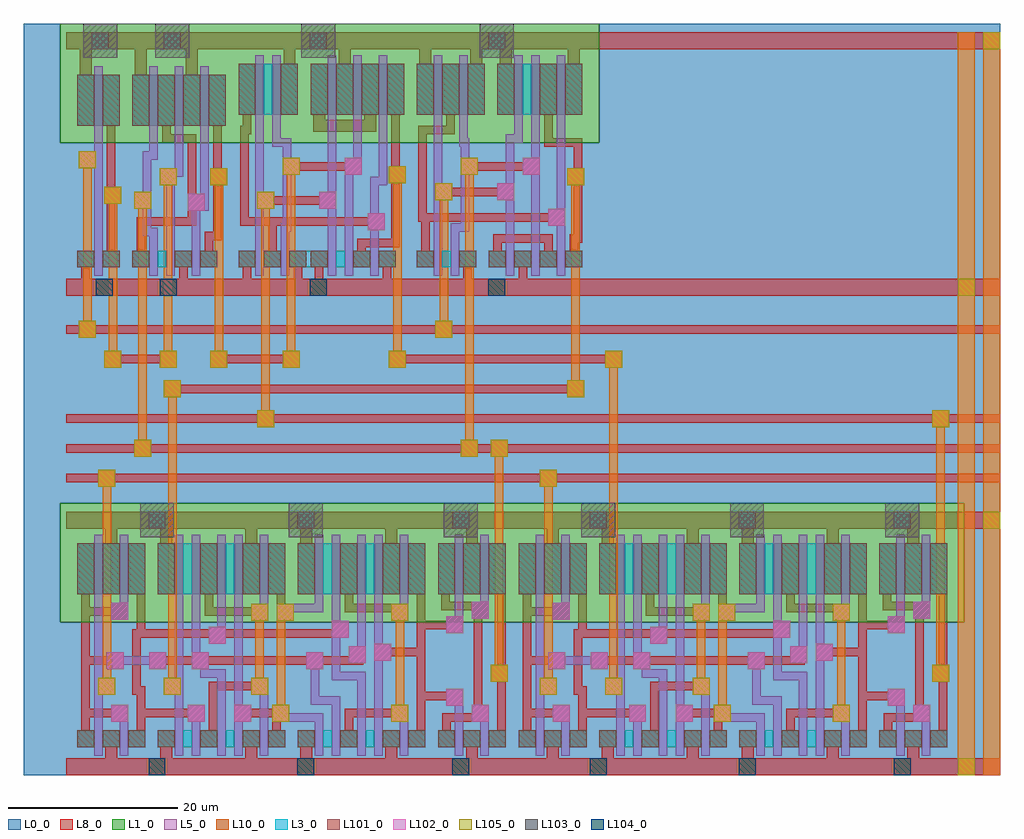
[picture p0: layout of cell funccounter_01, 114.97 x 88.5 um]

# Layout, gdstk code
import gdstk
lib = gdstk.Library(unit=1e-6, precision=1e-09)
def R(c, l, rs):  # rectangles x0, y0, x1, y1
    for r in rs: c.add(gdstk.rectangle(r[:2], r[2:], *l))
def A(c, l, x, y, w, h, nx, ny, dx, dy):  # array of equal rectangles
    R(c, l, [(x+i*dx, y+j*dy, x+i*dx+w, y+j*dy+h) for i in range(nx) for j in range(ny)])
def P(c, l, *ps):  # polygons
    for p in ps: c.add(gdstk.Polygon(p, *l))
L0_0 = (0, 0)
L1_0 = (1, 0)
L3_0 = (3, 0)
L5_0 = (5, 0)
L8_0 = (8, 0)
L10_0 = (10, 0)
L101_0 = (101, 0)
L102_0 = (102, 0)
L103_0 = (103, 0)
L104_0 = (104, 0)
L105_0 = (105, 0)

pch = lib.new_cell('pch')
R(pch, L0_0, [(0,0,1,6)])

nch = lib.new_cell('nch')
R(nch, L0_0, [(0,0,1,2)])

funccounter_01 = lib.new_cell('funccounter_01')
P(funccounter_01, L0_0, [(-5.468,-0.5),(109.5,-0.5),(109.5,88),(62.3,88),(62.3,74),(-1.2,74),(-1.2,88),(-5.468,88),(-5.468,17.5),(-1.2,17.5),(-1.2,31.5),(105.3,31.5),(105.3,17.5),(-5.468,17.5)])
R(funccounter_01, L1_0, [(-1.2,17.5,105.3,31.5), (-1.2,74,62.3,88)])
A(funccounter_01, L3_0, 0.8, 2.8, 2, 2, 3, 1, 3, 0)
A(funccounter_01, L3_0, 10.3, 2.8, 2, 2, 3, 1, 5, 0)
A(funccounter_01, L3_0, 26.8, 2.8, 2, 2, 3, 1, 5, 0)
A(funccounter_01, L3_0, 43.3, 2.8, 2, 2, 3, 1, 3, 0)
A(funccounter_01, L3_0, 52.8, 2.8, 2, 2, 3, 1, 3, 0)
A(funccounter_01, L3_0, 62.3, 2.8, 2, 2, 3, 1, 5, 0)
A(funccounter_01, L3_0, 78.8, 2.8, 2, 2, 3, 1, 5, 0)
A(funccounter_01, L3_0, 95.3, 2.8, 2, 2, 3, 1, 3, 0)
A(funccounter_01, L3_0, 0.8, 20.8, 2, 6, 3, 1, 3, 0)
A(funccounter_01, L3_0, 10.3, 20.8, 2, 6, 3, 1, 5, 0)
A(funccounter_01, L3_0, 26.8, 20.8, 2, 6, 3, 1, 5, 0)
A(funccounter_01, L3_0, 43.3, 20.8, 2, 6, 3, 1, 3, 0)
A(funccounter_01, L3_0, 52.8, 20.8, 2, 6, 3, 1, 3, 0)
A(funccounter_01, L3_0, 62.3, 20.8, 2, 6, 3, 1, 5, 0)
A(funccounter_01, L3_0, 78.8, 20.8, 2, 6, 3, 1, 5, 0)
A(funccounter_01, L3_0, 95.3, 20.8, 2, 6, 3, 1, 3, 0)
A(funccounter_01, L3_0, 49.3, 59.3, 2, 2, 4, 1, 3, 0)
A(funccounter_01, L3_0, 7.3, 76, 2, 6, 4, 1, 3, 0)
A(funccounter_01, L3_0, 28.3, 77.3, 2, 6, 4, 1, 3, 0)
A(funccounter_01, L3_0, 40.8, 77.3, 2, 6, 3, 1, 3, 0)
R(funccounter_01, L3_0, [(13.3,2.8,14.3,4.8), (18.3,2.8,19.3,4.8), (23.3,2.8,25.3,4.8), (29.8,2.8,30.8,4.8), (34.8,2.8,35.8,4.8), (39.8,2.8,41.8,4.8), (65.3,2.8,66.3,4.8), (70.3,2.8,71.3,4.8), (75.3,2.8,77.3,4.8), (81.8,2.8,82.8,4.8), (86.8,2.8,87.8,4.8), (91.8,2.8,93.8,4.8), (13.3,20.8,14.3,26.8), (18.3,20.8,19.3,26.8), (23.3,20.8,25.3,26.8), (29.8,20.8,30.8,26.8), (34.8,20.8,35.8,26.8), (39.8,20.8,41.8,26.8), (65.3,20.8,66.3,26.8), (70.3,20.8,71.3,26.8), (75.3,20.8,77.3,26.8), (81.8,20.8,82.8,26.8), (86.8,20.8,87.8,26.8), (91.8,20.8,93.8,26.8), (9.2,28.5,11.2,30.5), (26.7,28.5,28.7,30.5), (45,28.5,47,30.5), (61.2,28.5,63.2,30.5), (78.7,28.5,80.7,30.5), (97,28.5,99,30.5), (0.8,59.3,2.8,61.3), (3.8,59.3,5.8,61.3), (7.3,59.3,9.3,61.3), (10.3,59.3,11.3,61.3), (12.3,59.3,14.3,61.3), (15.3,59.3,17.3,61.3), (19.8,59.3,21.8,61.3), (22.8,59.3,24.8,61.3), (25.8,59.3,30.3,61.3), (31.3,59.3,32.3,61.3), (33.3,59.3,35.3,61.3), (36.3,59.3,38.3,61.3), (40.8,59.3,42.8,61.3), (43.8,59.3,44.8,61.3), (45.8,59.3,47.8,61.3), (0.8,76,2.8,82), (3.8,76,5.8,82), (19.8,77.3,21.8,83.3), (22.8,77.3,23.8,83.3), (24.8,77.3,26.8,83.3), (50.3,77.3,52.3,83.3), (53.3,77.3,54.3,83.3), (55.3,77.3,57.3,83.3), (58.3,77.3,60.3,83.3), (2.5,85,4.5,87), (11,85,13,87), (28.2,85,30.2,87), (49.2,85,51.2,87)])
P(funccounter_01, L5_0, [(99.3,5.8),(100.3,5.8),(100.3,1.8),(101.3,1.8),(101.3,7.8),(99.3,7.8)],
  [(99.3,17.9),(101.3,17.9),(101.3,27.8),(100.3,27.8),(100.3,19.9),(99.3,19.9)],
  [(96.3,7.7),(97.3,7.7),(97.3,1.8),(98.3,1.8),(98.3,9.7),(96.3,9.7)],
  [(96.3,16.2),(98.3,16.2),(98.3,27.8),(97.3,27.8),(97.3,18.2),(96.3,18.2)],
  [(89.8,5.8),(90.8,5.8),(90.8,1.8),(91.8,1.8),(91.8,7.8),(89.8,7.8)],
  [(89.8,17.7),(91.8,17.7),(91.8,27.8),(90.8,27.8),(90.8,19.7),(89.8,19.7)],
  [(87.8,1.8),(88.8,1.8),(88.8,13),(89.8,13),(89.8,15),(88.8,15),(88.8,27.8),(87.8,27.8)],
  [(84.8,12.7),(86.8,12.7),(86.8,27.8),(85.8,27.8),(85.8,14.7),(84.8,14.7)],
  [(82.8,10.7),(85.8,10.7),(85.8,1.8),(86.8,1.8),(86.8,11.7),(83.8,11.7),(83.8,15.7),(84.8,15.7),(84.8,17.7),(83.8,17.7),(83.8,27.8),(82.8,27.8)],
  [(79.8,12),(80.3,12),(80.3,7.8),(82.8,7.8),(82.8,1.8),(83.8,1.8),(83.8,8.8),(81.3,8.8),(81.3,12),(81.8,12),(81.8,14),(79.8,14)],
  [(75.8,5.8),(80.8,5.8),(80.8,1.8),(81.8,1.8),(81.8,6.8),(77.8,6.8),(77.8,7.8),(75.8,7.8)],
  [(76.3,17.7),(78.3,17.7),(78.3,18.7),(81.8,18.7),(81.8,27.8),(80.8,27.8),(80.8,19.7),(76.3,19.7)],
  [(73.3,9),(74.3,9),(74.3,1.8),(75.3,1.8),(75.3,11),(73.3,11)],
  [(73.3,17.7),(75.3,17.7),(75.3,27.8),(74.3,27.8),(74.3,19.7),(73.3,19.7)],
  [(71.3,1.8),(72.3,1.8),(72.3,5.8),(73.3,5.8),(73.3,7.8),(72.3,7.8),(72.3,27.8),(71.3,27.8)],
  [(68.3,15),(70.3,15),(70.3,27.8),(69.3,27.8),(69.3,17),(68.3,17)],
  [(65.8,5.8),(66.3,5.8),(66.3,1.8),(67.3,1.8),(67.3,5.8),(67.8,5.8),(67.8,7.8),(65.8,7.8)],
  [(66.3,12),(67.3,12),(67.3,11),(69.3,11),(69.3,1.8),(70.3,1.8),(70.3,12),(68.3,12),(68.3,14),(67.3,14),(67.3,27.8),(66.3,27.8)],
  [(63,9),(64.3,9),(64.3,1.8),(65.3,1.8),(65.3,27.8),(64.3,27.8),(64.3,11),(63,11)],
  [(56.3,12),(58.3,12),(58.3,12.5),(61.3,12.5),(61.3,12),(63.3,12),(63.3,14),(61.3,14),(61.3,13.5),(58.3,13.5),(58.3,14),(56.3,14)],
  [(56.8,5.8),(57.8,5.8),(57.8,1.8),(58.8,1.8),(58.8,7.8),(56.8,7.8)],
  [(56.8,17.8),(58.8,17.8),(58.8,27.8),(57.8,27.8),(57.8,19.8),(56.8,19.8)],
  [(56.3,64.2),(57.3,64.2),(57.3,58.3),(58.3,58.3),(58.3,84.3),(57.3,84.3),(57.3,66.2),(56.3,66.2)],
  [(54.8,1.8),(55.8,1.8),(55.8,9),(57.3,9),(57.3,11),(55.8,11),(55.8,27.8),(54.8,27.8)],
  [(53.3,70.2),(54.3,70.2),(54.3,58.3),(55.3,58.3),(55.3,84.3),(54.3,84.3),(54.3,72.2),(53.3,72.2)],
  [(50.3,67.2),(51.3,67.2),(51.3,58.3),(52.3,58.3),(52.3,74),(53.3,74),(53.3,84.3),(52.3,84.3),(52.3,75),(51.3,75),(51.3,69.2),(50.3,69.2)],
  [(47.3,5.8),(48.3,5.8),(48.3,1.8),(49.3,1.8),(49.3,7.8),(47.3,7.8)],
  [(47.3,17.9),(49.3,17.9),(49.3,27.8),(48.3,27.8),(48.3,19.9),(47.3,19.9)],
  [(44.8,58.3),(45.8,58.3),(45.8,63.5),(47,63.5),(47,70.2),(48,70.2),(48,72.2),(47,72.2),(47,74.5),(46.8,74.5),(46.8,84.3),(45.8,84.3),(45.8,73.5),(46,73.5),(46,64.5),(44.8,64.5)],
  [(44.3,7.7),(45.3,7.7),(45.3,1.8),(46.3,1.8),(46.3,9.7),(44.3,9.7)],
  [(44.3,16.2),(46.3,16.2),(46.3,27.8),(45.3,27.8),(45.3,18.2),(44.3,18.2)],
  [(42.8,58.3),(43.8,58.3),(43.8,67.2),(45,67.2),(45,69.2),(43.8,69.2),(43.8,84.3),(42.8,84.3)],
  [(37.8,5.8),(38.8,5.8),(38.8,1.8),(39.8,1.8),(39.8,7.8),(37.8,7.8)],
  [(37.8,17.7),(39.8,17.7),(39.8,27.8),(38.8,27.8),(38.8,19.7),(37.8,19.7)],
  [(35.8,1.8),(36.8,1.8),(36.8,13),(37.8,13),(37.8,15),(36.8,15),(36.8,27.8),(35.8,27.8)],
  [(35,63.7),(35.3,63.7),(35.3,58.3),(36.3,58.3),(36.3,63.7),(37,63.7),(37,65.7),(36.3,65.7),(36.3,69),(37.3,69),(37.3,84.3),(36.3,84.3),(36.3,70),(35.3,70),(35.3,65.7),(35,65.7)],
  [(32.8,12.7),(34.8,12.7),(34.8,27.8),(33.8,27.8),(33.8,14.7),(32.8,14.7)],
  [(32.3,58.3),(33.3,58.3),(33.3,70.2),(34.3,70.2),(34.3,84.3),(33.3,84.3),(33.3,72.2),(32.3,72.2)],
  [(30.8,10.7),(33.8,10.7),(33.8,1.8),(34.8,1.8),(34.8,11.7),(31.8,11.7),(31.8,15.7),(32.8,15.7),(32.8,17.7),(31.8,17.7),(31.8,27.8),(30.8,27.8)],
  [(29.3,66.2),(30.3,66.2),(30.3,58.3),(31.3,58.3),(31.3,84.3),(30.3,84.3),(30.3,68.2),(29.3,68.2)],
  [(27.8,12),(28.3,12),(28.3,7.8),(30.8,7.8),(30.8,1.8),(31.8,1.8),(31.8,8.8),(29.3,8.8),(29.3,12),(29.8,12),(29.8,14),(27.8,14)],
  [(23.8,73.5),(25,73.5),(25,64.5),(24.8,64.5),(24.8,58.3),(25.8,58.3),(25.8,63.5),(26,63.5),(26,70.2),(27,70.2),(27,72.2),(26,72.2),(26,74.5),(24.8,74.5),(24.8,84.3),(23.8,84.3)],
  [(23.8,5.8),(28.8,5.8),(28.8,1.8),(29.8,1.8),(29.8,6.8),(25.8,6.8),(25.8,7.8),(23.8,7.8)],
  [(24.3,17.7),(26.3,17.7),(26.3,18.7),(29.8,18.7),(29.8,27.8),(28.8,27.8),(28.8,19.7),(24.3,19.7)],
  [(21.8,58.3),(22.8,58.3),(22.8,66.2),(24,66.2),(24,68.2),(22.8,68.2),(22.8,84.3),(21.8,84.3)],
  [(21.3,9),(22.3,9),(22.3,1.8),(23.3,1.8),(23.3,11),(21.3,11)],
  [(21.3,17.7),(23.3,17.7),(23.3,27.8),(22.3,27.8),(22.3,19.7),(21.3,19.7)],
  [(19.3,1.8),(20.3,1.8),(20.3,5.8),(21.3,5.8),(21.3,7.8),(20.3,7.8),(20.3,27.8),(19.3,27.8)],
  [(16.3,15),(18.3,15),(18.3,27.8),(17.3,27.8),(17.3,17),(16.3,17)],
  [(13.8,5.8),(14.3,5.8),(14.3,1.8),(15.3,1.8),(15.3,5.8),(15.8,5.8),(15.8,7.8),(13.8,7.8)],
  [(14.3,12),(15.3,12),(15.3,11),(17.3,11),(17.3,1.8),(18.3,1.8),(18.3,12),(16.3,12),(16.3,14),(15.3,14),(15.3,27.8),(14.3,27.8)],
  [(13.8,66),(14.3,66),(14.3,58.3),(15.3,58.3),(15.3,66),(16.3,66),(16.3,83),(15.3,83),(15.3,68),(13.8,68)],
  [(11,9),(12.3,9),(12.3,1.8),(13.3,1.8),(13.3,27.8),(12.3,27.8),(12.3,11),(11,11)],
  [(10.5,69),(11.3,69),(11.3,58.3),(12.3,58.3),(12.3,69),(12.5,69),(12.5,70),(13.3,70),(13.3,83),(12.3,83),(12.3,71),(10.5,71)],
  [(7.5,66.2),(8.5,66.2),(8.5,63),(9.3,63),(9.3,58.3),(10.3,58.3),(10.3,64),(9.5,64),(9.5,72),(10.3,72),(10.3,83),(9.3,83),(9.3,73),(8.5,73),(8.5,68.2),(7.5,68.2)],
  [(4.3,12),(6.3,12),(6.3,12.5),(9.3,12.5),(9.3,12),(11.3,12),(11.3,14),(9.3,14),(9.3,13.5),(6.3,13.5),(6.3,14),(4.3,14)],
  [(4.8,5.8),(5.8,5.8),(5.8,1.8),(6.8,1.8),(6.8,7.8),(4.8,7.8)],
  [(4.8,17.8),(6.8,17.8),(6.8,27.8),(5.8,27.8),(5.8,19.8),(4.8,19.8)],
  [(2.8,1.8),(3.8,1.8),(3.8,9),(5.3,9),(5.3,11),(3.8,11),(3.8,27.8),(2.8,27.8)],
  [(1,71),(2.8,71),(2.8,58.3),(3.8,58.3),(3.8,83),(2.8,83),(2.8,73),(1,73)])
R(funccounter_01, L8_0, [(3.3,9,5.3,11), (11,9,13,11), (55.3,9,57.3,11), (63,9,65,11), (7.5,66.2,9.5,68.2), (10.5,69,12.5,71), (1,71,3,73)])
P(funccounter_01, L8_0, [(101.3,2.8),(103.3,2.8),(103.3,10.5),(103.5,10.5),(103.5,12.5),(103.3,12.5),(103.3,26.8),(101.3,26.8),(101.3,20.8),(102.3,20.8),(102.3,12.5),(101.5,12.5),(101.5,10.5),(102.3,10.5),(102.3,4.8),(101.3,4.8)],
  [(95.3,2.8),(97.3,2.8),(97.3,4.8),(96.8,4.8),(96.8,5.8),(101.3,5.8),(101.3,7.8),(100.5,7.8),(100.5,17.9),(101.3,17.9),(101.3,19.9),(96.7,19.9),(96.7,20.8),(97.3,20.8),(97.3,26.8),(95.3,26.8),(95.3,20.8),(95.7,20.8),(95.7,18.9),(99.3,18.9),(99.3,17.9),(99.5,17.9),(99.5,7.8),(99.3,7.8),(99.3,6.8),(95.8,6.8),(95.8,4.8),(95.3,4.8)],
  [(87.8,13),(89.8,13),(89.8,13.5),(92.8,13.5),(92.8,4.8),(91.8,4.8),(91.8,2.8),(93.8,2.8),(93.8,8.3),(96.3,8.3),(96.3,7.7),(98.3,7.7),(98.3,9.7),(96.3,9.7),(96.3,9.3),(93.8,9.3),(93.8,16.7),(96.3,16.7),(96.3,16.2),(98.3,16.2),(98.3,18.2),(96.3,18.2),(96.3,17.7),(93.8,17.7),(93.8,26.8),(91.8,26.8),(91.8,20.8),(92.8,20.8),(92.8,14.5),(89.8,14.5),(89.8,15),(87.8,15)],
  [(83.8,2.8),(85.8,2.8),(85.8,4.8),(85.3,4.8),(85.3,6.3),(89.8,6.3),(89.8,5.8),(91.8,5.8),(91.8,7.8),(89.8,7.8),(89.8,7.3),(84.3,7.3),(84.3,4.8),(83.8,4.8)],
  [(83.8,20.8),(84.3,20.8),(84.3,18.7),(89.8,18.7),(89.8,17.7),(91.8,17.7),(91.8,19.7),(85.3,19.7),(85.3,20.8),(85.8,20.8),(85.8,26.8),(83.8,26.8)],
  [(75.3,20.8),(76.3,20.8),(76.3,17.7),(78.3,17.7),(78.3,19.7),(77.3,19.7),(77.3,26.8),(75.3,26.8)],
  [(71.3,5.8),(73.3,5.8),(73.3,6.3),(75.8,6.3),(75.8,4.8),(75.3,4.8),(75.3,2.8),(77.3,2.8),(77.3,4.8),(76.8,4.8),(76.8,5.8),(77.8,5.8),(77.8,7.8),(75.8,7.8),(75.8,7.3),(73.3,7.3),(73.3,7.8),(71.3,7.8)],
  [(67.3,2.8),(69.3,2.8),(69.3,9.5),(73.3,9.5),(73.3,9),(75.3,9),(75.3,11),(73.3,11),(73.3,10.5),(68.3,10.5),(68.3,4.8),(67.3,4.8)],
  [(67.3,20.8),(67.8,20.8),(67.8,18.3),(73.3,18.3),(73.3,17.7),(75.3,17.7),(75.3,19.7),(73.3,19.7),(73.3,19.3),(68.8,19.3),(68.8,20.8),(69.3,20.8),(69.3,26.8),(67.3,26.8)],
  [(61.3,12),(63.3,12),(63.3,12.5),(66.3,12.5),(66.3,12),(68.3,12),(68.3,12.5),(79.8,12.5),(79.8,12),(81.8,12),(81.8,12.5),(86.5,12.5),(86.5,12.7),(86.8,12.7),(86.8,14.7),(84.8,14.7),(84.8,13.5),(81.8,13.5),(81.8,14),(79.8,14),(79.8,13.5),(68.3,13.5),(68.3,14),(66.3,14),(66.3,13.5),(63.3,13.5),(63.3,14),(61.3,14)],
  [(58.8,2.8),(60.8,2.8),(60.8,6.3),(65.8,6.3),(65.8,5.8),(67.8,5.8),(67.8,7.8),(65.8,7.8),(65.8,7.3),(60.8,7.3),(60.8,10),(60.3,10),(60.3,15.7),(68.3,15.7),(68.3,15),(70.3,15),(70.3,15.7),(84.8,15.7),(84.8,17.7),(82.8,17.7),(82.8,16.7),(70.3,16.7),(70.3,17),(68.3,17),(68.3,16.7),(60.8,16.7),(60.8,26.8),(58.8,26.8),(58.8,20.8),(59.8,20.8),(59.8,16.7),(59.3,16.7),(59.3,9),(59.8,9),(59.8,4.8),(58.8,4.8)],
  [(55.3,77.3),(55.8,77.3),(55.8,73.5),(59.3,73.5),(59.3,71),(58.5,71),(58.5,69),(59.3,69),(59.3,63.2),(58.8,63.2),(58.8,61.3),(58.3,61.3),(58.3,59.3),(60.3,59.3),(60.3,61.3),(59.8,61.3),(59.8,62.2),(60.3,62.2),(60.3,69),(60.5,69),(60.5,71),(60.3,71),(60.3,74.5),(56.8,74.5),(56.8,77.3),(57.3,77.3),(57.3,83.3),(55.3,83.3)],
  [(52.8,2.8),(54.8,2.8),(54.8,4.8),(54.3,4.8),(54.3,6.3),(56.8,6.3),(56.8,5.8),(58.8,5.8),(58.8,7.8),(56.8,7.8),(56.8,7.3),(54.3,7.3),(54.3,12.5),(56.3,12.5),(56.3,12),(58.3,12),(58.3,14),(56.3,14),(56.3,13.5),(54.3,13.5),(54.3,18.3),(56.8,18.3),(56.8,17.8),(58.8,17.8),(58.8,19.8),(56.8,19.8),(56.8,19.3),(54.3,19.3),(54.3,20.8),(54.8,20.8),(54.8,26.8),(52.8,26.8),(52.8,20.8),(53.3,20.8),(53.3,4.8),(52.8,4.8)],
  [(49.3,2.8),(51.3,2.8),(51.3,10.5),(51.5,10.5),(51.5,12.5),(51.3,12.5),(51.3,26.8),(49.3,26.8),(49.3,20.8),(50.3,20.8),(50.3,12.5),(49.5,12.5),(49.5,10.5),(50.3,10.5),(50.3,4.8),(49.3,4.8)],
  [(49.3,59.3),(51.3,59.3),(51.3,61.3),(50.8,61.3),(50.8,62.2),(55.8,62.2),(55.8,61.3),(55.3,61.3),(55.3,59.3),(57.3,59.3),(57.3,61.3),(56.8,61.3),(56.8,63.2),(49.8,63.2),(49.8,61.3),(49.3,61.3)],
  [(46,70.2),(48,70.2),(48,70.7),(53.3,70.7),(53.3,70.2),(55.3,70.2),(55.3,72.2),(53.3,72.2),(53.3,71.7),(48,71.7),(48,72.2),(46,72.2)],
  [(43,67.2),(45,67.2),(45,67.7),(50.3,67.7),(50.3,67.2),(52.3,67.2),(52.3,69.2),(50.3,69.2),(50.3,68.7),(45,68.7),(45,69.2),(43,69.2)],
  [(43.3,2.8),(45.3,2.8),(45.3,4.8),(44.8,4.8),(44.8,5.8),(49.3,5.8),(49.3,7.8),(48.5,7.8),(48.5,17.9),(49.3,17.9),(49.3,19.9),(44.7,19.9),(44.7,20.8),(45.3,20.8),(45.3,26.8),(43.3,26.8),(43.3,20.8),(43.7,20.8),(43.7,18.9),(47.3,18.9),(47.3,17.9),(47.5,17.9),(47.5,7.8),(47.3,7.8),(47.3,6.8),(43.8,6.8),(43.8,4.8),(43.3,4.8)],
  [(40.8,59.3),(42.8,59.3),(42.8,61.3),(42.3,61.3),(42.3,64.7),(56.3,64.7),(56.3,64.2),(58.3,64.2),(58.3,66.2),(56.3,66.2),(56.3,65.7),(42,65.7),(42,75),(45.3,75),(45.3,77.3),(45.8,77.3),(45.8,83.3),(43.8,83.3),(43.8,77.3),(44.3,77.3),(44.3,76),(41,76),(41,64.7),(41.3,64.7),(41.3,61.3),(40.8,61.3)],
  [(37.5,47.5),(39.5,47.5),(39.5,48),(63,48),(63,47.5),(65,47.5),(65,49.5),(63,49.5),(63,49),(39.5,49),(39.5,49.5),(37.5,49.5)],
  [(35.8,13),(37.8,13),(37.8,13.5),(40.8,13.5),(40.8,4.8),(39.8,4.8),(39.8,2.8),(41.8,2.8),(41.8,8.3),(44.3,8.3),(44.3,7.7),(46.3,7.7),(46.3,9.7),(44.3,9.7),(44.3,9.3),(41.8,9.3),(41.8,16.7),(44.3,16.7),(44.3,16.2),(46.3,16.2),(46.3,18.2),(44.3,18.2),(44.3,17.7),(41.8,17.7),(41.8,26.8),(39.8,26.8),(39.8,20.8),(40.8,20.8),(40.8,14.5),(37.8,14.5),(37.8,15),(35.8,15)],
  [(33.3,59.3),(35.3,59.3),(35.3,61.3),(34.8,61.3),(34.8,61.7),(38.8,61.7),(38.8,69.2),(39.5,69.2),(39.5,71.2),(38.8,71.2),(38.8,77.3),(39.3,77.3),(39.3,83.3),(37.3,83.3),(37.3,77.3),(37.8,77.3),(37.8,71.2),(37.5,71.2),(37.5,69.2),(37.8,69.2),(37.8,62.7),(33.8,62.7),(33.8,61.3),(33.3,61.3)],
  [(31.8,2.8),(33.8,2.8),(33.8,4.8),(33.3,4.8),(33.3,6.3),(37.8,6.3),(37.8,5.8),(39.8,5.8),(39.8,7.8),(37.8,7.8),(37.8,7.3),(32.3,7.3),(32.3,4.8),(31.8,4.8)],
  [(31.8,20.8),(32.3,20.8),(32.3,18.7),(37.8,18.7),(37.8,17.7),(39.8,17.7),(39.8,19.7),(33.3,19.7),(33.3,20.8),(33.8,20.8),(33.8,26.8),(31.8,26.8)],
  [(28.3,77.3),(28.6,77.3),(28.6,75.3),(36,75.3),(36,77.3),(36.3,77.3),(36.3,83.3),(34.3,83.3),(34.3,77.3),(34.6,77.3),(34.6,76.7),(30,76.7),(30,77.3),(30.3,77.3),(30.3,83.3),(28.3,83.3)],
  [(25,70.2),(27,70.2),(27,70.7),(32.3,70.7),(32.3,70.2),(34.3,70.2),(34.3,72.2),(32.3,72.2),(32.3,71.7),(27,71.7),(27,72.2),(25,72.2)],
  [(23.3,20.8),(24.3,20.8),(24.3,17.7),(26.3,17.7),(26.3,19.7),(25.3,19.7),(25.3,26.8),(23.3,26.8)],
  [(22,66.2),(24,66.2),(24,66.7),(29.3,66.7),(29.3,66.2),(31.3,66.2),(31.3,68.2),(29.3,68.2),(29.3,67.7),(24,67.7),(24,68.2),(22,68.2)],
  [(-0.5,41),(22,41),(22,40.5),(24,40.5),(24,41),(101.5,41),(101.5,40.5),(103.5,40.5),(103.5,41),(109.5,41),(109.5,42),(103.5,42),(103.5,42.5),(101.5,42.5),(101.5,42),(24,42),(24,42.5),(22,42.5),(22,42),(-0.5,42)],
  [(19.3,5.8),(21.3,5.8),(21.3,6.3),(23.8,6.3),(23.8,4.8),(23.3,4.8),(23.3,2.8),(25.3,2.8),(25.3,4.8),(24.8,4.8),(24.8,5.8),(25.8,5.8),(25.8,7.8),(23.8,7.8),(23.8,7.3),(21.3,7.3),(21.3,7.8),(19.3,7.8)],
  [(19.8,77.3),(20.3,77.3),(20.3,76),(20,76),(20,64.2),(23.3,64.2),(23.3,61.3),(22.8,61.3),(22.8,59.3),(24.8,59.3),(24.8,61.3),(24.3,61.3),(24.3,64.2),(35,64.2),(35,63.7),(37,63.7),(37,65.7),(35,65.7),(35,65.2),(21,65.2),(21,75),(21.3,75),(21.3,77.3),(21.8,77.3),(21.8,83.3),(19.8,83.3)],
  [(16.5,47.5),(18.5,47.5),(18.5,48),(25,48),(25,47.5),(27,47.5),(27,49.5),(25,49.5),(25,49),(18.5,49),(18.5,49.5),(16.5,49.5)],
  [(15.3,2.8),(17.3,2.8),(17.3,9.5),(21.3,9.5),(21.3,9),(23.3,9),(23.3,11),(21.3,11),(21.3,10.5),(16.3,10.5),(16.3,4.8),(15.3,4.8)],
  [(15.3,20.8),(15.8,20.8),(15.8,18.3),(21.3,18.3),(21.3,17.7),(23.3,17.7),(23.3,19.7),(21.3,19.7),(21.3,19.3),(16.8,19.3),(16.8,20.8),(17.3,20.8),(17.3,26.8),(15.3,26.8)],
  [(15.3,59.3),(17.3,59.3),(17.3,61.3),(16.8,61.3),(16.8,62.5),(17.8,62.5),(17.8,69),(18.5,69),(18.5,71),(17.8,71),(17.8,76),(18.3,76),(18.3,82),(16.3,82),(16.3,76),(16.8,76),(16.8,71),(16.5,71),(16.5,69),(16.8,69),(16.8,63.5),(15.8,63.5),(15.8,61.3),(15.3,61.3)],
  [(11,44),(13,44),(13,44.5),(58.5,44.5),(58.5,44),(60.5,44),(60.5,46),(58.5,46),(58.5,45.5),(13,45.5),(13,46),(11,46)],
  [(9.3,12),(11.3,12),(11.3,12.5),(14.3,12.5),(14.3,12),(16.3,12),(16.3,12.5),(27.8,12.5),(27.8,12),(29.8,12),(29.8,12.5),(34.5,12.5),(34.5,12.7),(34.8,12.7),(34.8,14.7),(32.8,14.7),(32.8,13.5),(29.8,13.5),(29.8,14),(27.8,14),(27.8,13.5),(16.3,13.5),(16.3,14),(14.3,14),(14.3,13.5),(11.3,13.5),(11.3,14),(9.3,14)],
  [(6.8,2.8),(8.8,2.8),(8.8,6.3),(13.8,6.3),(13.8,5.8),(15.8,5.8),(15.8,7.8),(13.8,7.8),(13.8,7.3),(8.8,7.3),(8.8,10),(8.3,10),(8.3,15.7),(16.3,15.7),(16.3,15),(18.3,15),(18.3,15.7),(32.8,15.7),(32.8,17.7),(30.8,17.7),(30.8,16.7),(18.3,16.7),(18.3,17),(16.3,17),(16.3,16.7),(8.8,16.7),(8.8,26.8),(6.8,26.8),(6.8,20.8),(7.8,20.8),(7.8,16.7),(7.3,16.7),(7.3,9),(7.8,9),(7.8,4.8),(6.8,4.8)],
  [(7.3,59.3),(9.3,59.3),(9.3,61.3),(8.8,61.3),(8.8,64.2),(14.8,64.2),(14.8,66),(15.8,66),(15.8,68),(14.8,68),(14.8,75),(11.8,75),(11.8,76),(12.3,76),(12.3,82),(10.3,82),(10.3,76),(10.8,76),(10.8,74),(13.8,74),(13.8,65.2),(7.8,65.2),(7.8,61.3),(7.3,61.3)],
  [(-0.5,37.5),(7.5,37.5),(7.5,37),(9.5,37),(9.5,37.5),(46,37.5),(46,37),(48,37),(48,37.5),(49.5,37.5),(49.5,37),(51.5,37),(51.5,37.5),(109.5,37.5),(109.5,38.5),(51.5,38.5),(51.5,39),(49.5,39),(49.5,38.5),(48,38.5),(48,39),(46,39),(46,38.5),(9.5,38.5),(9.5,39),(7.5,39),(7.5,38.5),(-0.5,38.5)],
  [(4,47.5),(6,47.5),(6,48),(10.5,48),(10.5,47.5),(12.5,47.5),(12.5,49.5),(10.5,49.5),(10.5,49),(6,49),(6,49.5),(4,49.5)],
  [(3.8,59.3),(5.8,59.3),(5.8,61.3),(5.3,61.3),(5.3,66.8),(6,66.8),(6,68.8),(5.3,68.8),(5.3,76),(5.8,76),(5.8,82),(3.8,82),(3.8,76),(4.3,76),(4.3,68.8),(4,68.8),(4,66.8),(4.3,66.8),(4.3,61.3),(3.8,61.3)],
  [(-0.5,-0.5),(109.5,-0.5),(109.5,1.5),(100,1.5),(100,2.8),(100.3,2.8),(100.3,4.8),(98.3,4.8),(98.3,2.8),(98.6,2.8),(98.6,1.5),(90.5,1.5),(90.5,2.8),(90.8,2.8),(90.8,4.8),(88.8,4.8),(88.8,2.8),(89.1,2.8),(89.1,1.5),(80.5,1.5),(80.5,2.8),(80.8,2.8),(80.8,4.8),(78.8,4.8),(78.8,2.8),(79.1,2.8),(79.1,1.5),(74,1.5),(74,2.8),(74.3,2.8),(74.3,4.8),(72.3,4.8),(72.3,2.8),(72.6,2.8),(72.6,1.5),(64,1.5),(64,2.8),(64.3,2.8),(64.3,4.8),(62.3,4.8),(62.3,2.8),(62.6,2.8),(62.6,1.5),(57.5,1.5),(57.5,2.8),(57.8,2.8),(57.8,4.8),(55.8,4.8),(55.8,2.8),(56.1,2.8),(56.1,1.5),(48,1.5),(48,2.8),(48.3,2.8),(48.3,4.8),(46.3,4.8),(46.3,2.8),(46.6,2.8),(46.6,1.5),(38.5,1.5),(38.5,2.8),(38.8,2.8),(38.8,4.8),(36.8,4.8),(36.8,2.8),(37.1,2.8),(37.1,1.5),(28.5,1.5),(28.5,2.8),(28.8,2.8),(28.8,4.8),(26.8,4.8),(26.8,2.8),(27.1,2.8),(27.1,1.5),(22,1.5),(22,2.8),(22.3,2.8),(22.3,4.8),(20.3,4.8),(20.3,2.8),(20.6,2.8),(20.6,1.5),(12,1.5),(12,2.8),(12.3,2.8),(12.3,4.8),(10.3,4.8),(10.3,2.8),(10.6,2.8),(10.6,1.5),(5.5,1.5),(5.5,2.8),(5.8,2.8),(5.8,4.8),(3.8,4.8),(3.8,2.8),(4.1,2.8),(4.1,1.5),(-0.5,1.5)],
  [(-0.5,28.5),(4.1,28.5),(4.1,26.8),(3.8,26.8),(3.8,20.8),(5.8,20.8),(5.8,26.8),(5.5,26.8),(5.5,28.5),(10.6,28.5),(10.6,26.8),(10.3,26.8),(10.3,20.8),(12.3,20.8),(12.3,26.8),(12,26.8),(12,28.5),(20.6,28.5),(20.6,26.8),(20.3,26.8),(20.3,20.8),(22.3,20.8),(22.3,26.8),(22,26.8),(22,28.5),(27.1,28.5),(27.1,26.8),(26.8,26.8),(26.8,20.8),(28.8,20.8),(28.8,26.8),(28.5,26.8),(28.5,28.5),(37.1,28.5),(37.1,26.8),(36.8,26.8),(36.8,20.8),(38.8,20.8),(38.8,26.8),(38.5,26.8),(38.5,28.5),(46.6,28.5),(46.6,26.8),(46.3,26.8),(46.3,20.8),(48.3,20.8),(48.3,26.8),(48,26.8),(48,28.5),(56.1,28.5),(56.1,26.8),(55.8,26.8),(55.8,20.8),(57.8,20.8),(57.8,26.8),(57.5,26.8),(57.5,28.5),(62.6,28.5),(62.6,26.8),(62.3,26.8),(62.3,20.8),(64.3,20.8),(64.3,26.8),(64,26.8),(64,28.5),(72.6,28.5),(72.6,26.8),(72.3,26.8),(72.3,20.8),(74.3,20.8),(74.3,26.8),(74,26.8),(74,28.5),(79.1,28.5),(79.1,26.8),(78.8,26.8),(78.8,20.8),(80.8,20.8),(80.8,26.8),(80.5,26.8),(80.5,28.5),(89.1,28.5),(89.1,26.8),(88.8,26.8),(88.8,20.8),(90.8,20.8),(90.8,26.8),(90.5,26.8),(90.5,28.5),(98.6,28.5),(98.6,26.8),(98.3,26.8),(98.3,20.8),(100.3,20.8),(100.3,26.8),(100,26.8),(100,28.5),(109.5,28.5),(109.5,30.5),(-0.5,30.5)],
  [(-0.5,34),(3.3,34),(3.3,33.5),(5.3,33.5),(5.3,34),(55.3,34),(55.3,33.5),(57.3,33.5),(57.3,34),(109.5,34),(109.5,35),(57.3,35),(57.3,35.5),(55.3,35.5),(55.3,35),(5.3,35),(5.3,35.5),(3.3,35.5),(3.3,35),(-0.5,35)],
  [(0.8,2.8),(2.8,2.8),(2.8,4.8),(2.3,4.8),(2.3,6.3),(4.8,6.3),(4.8,5.8),(6.8,5.8),(6.8,7.8),(4.8,7.8),(4.8,7.3),(2.3,7.3),(2.3,12.5),(4.3,12.5),(4.3,12),(6.3,12),(6.3,14),(4.3,14),(4.3,13.5),(2.3,13.5),(2.3,18.3),(4.8,18.3),(4.8,17.8),(6.8,17.8),(6.8,19.8),(4.8,19.8),(4.8,19.3),(2.3,19.3),(2.3,20.8),(2.8,20.8),(2.8,26.8),(0.8,26.8),(0.8,20.8),(1.3,20.8),(1.3,4.8),(0.8,4.8)],
  [(-0.5,56),(109.5,56),(109.5,58),(53.8,58),(53.8,59.3),(54.3,59.3),(54.3,61.3),(52.3,61.3),(52.3,59.3),(52.8,59.3),(52.8,58),(47.3,58),(47.3,59.3),(47.8,59.3),(47.8,61.3),(45.8,61.3),(45.8,59.3),(46.3,59.3),(46.3,58),(37.8,58),(37.8,59.3),(38.3,59.3),(38.3,61.3),(36.3,61.3),(36.3,59.3),(36.8,59.3),(36.8,58),(29.8,58),(29.8,59.3),(30.3,59.3),(30.3,61.3),(28.3,61.3),(28.3,59.3),(28.8,59.3),(28.8,58),(27.3,58),(27.3,59.3),(27.8,59.3),(27.8,61.3),(25.8,61.3),(25.8,59.3),(26.3,59.3),(26.3,58),(21.3,58),(21.3,59.3),(21.8,59.3),(21.8,61.3),(19.8,61.3),(19.8,59.3),(20.3,59.3),(20.3,58),(13.8,58),(13.8,59.3),(14.3,59.3),(14.3,61.3),(12.3,61.3),(12.3,59.3),(12.8,59.3),(12.8,58),(2.3,58),(2.3,59.3),(2.8,59.3),(2.8,61.3),(0.8,61.3),(0.8,59.3),(1.3,59.3),(1.3,58),(-0.5,58)],
  [(-0.5,85),(1.1,85),(1.1,82),(0.8,82),(0.8,76),(2.8,76),(2.8,82),(2.5,82),(2.5,85),(7.6,85),(7.6,82),(7.3,82),(7.3,76),(9.3,76),(9.3,82),(9,82),(9,85),(13.6,85),(13.6,82),(13.3,82),(13.3,76),(15.3,76),(15.3,82),(15,82),(15,85),(25.1,85),(25.1,83.3),(24.8,83.3),(24.8,77.3),(26.8,77.3),(26.8,83.3),(26.5,83.3),(26.5,85),(31.6,85),(31.6,83.3),(31.3,83.3),(31.3,77.3),(33.3,77.3),(33.3,83.3),(33,83.3),(33,85),(41.1,85),(41.1,83.3),(40.8,83.3),(40.8,77.3),(42.8,77.3),(42.8,83.3),(42.5,83.3),(42.5,85),(47.1,85),(47.1,83.3),(46.8,83.3),(46.8,77.3),(48.8,77.3),(48.8,83.3),(48.5,83.3),(48.5,85),(50.6,85),(50.6,83.3),(50.3,83.3),(50.3,77.3),(52.3,77.3),(52.3,83.3),(52,83.3),(52,85),(58.6,85),(58.6,83.3),(58.3,83.3),(58.3,77.3),(60.3,77.3),(60.3,83.3),(60,83.3),(60,85),(109.5,85),(109.5,87),(-0.5,87)],
  [(-0.5,51.5),(1,51.5),(1,51),(3,51),(3,51.5),(43,51.5),(43,51),(45,51),(45,51.5),(109.5,51.5),(109.5,52.5),(45,52.5),(45,53),(43,53),(43,52.5),(3,52.5),(3,53),(1,53),(1,52.5),(-0.5,52.5)])
R(funccounter_01, L10_0, [(104.5,-0.5,106.5,87), (107.5,-0.5,109.5,87)])
P(funccounter_01, L10_0, [(101.5,10.5),(103.5,10.5),(103.5,12.5),(103,12.5),(103,40.5),(103.5,40.5),(103.5,42.5),(101.5,42.5),(101.5,40.5),(102,40.5),(102,12.5),(101.5,12.5)],
  [(89.8,5.8),(91.8,5.8),(91.8,7.8),(91.3,7.8),(91.3,17.7),(91.8,17.7),(91.8,19.7),(89.8,19.7),(89.8,17.7),(90.3,17.7),(90.3,7.8),(89.8,7.8)],
  [(75.8,5.8),(77.8,5.8),(77.8,7.8),(77.3,7.8),(77.3,17.7),(78.3,17.7),(78.3,19.7),(76.3,19.7),(76.3,7.8),(75.8,7.8)],
  [(73.3,9),(75.3,9),(75.3,11),(74.8,11),(74.8,17.7),(75.3,17.7),(75.3,19.7),(73.3,19.7),(73.3,17.7),(73.8,17.7),(73.8,11),(73.3,11)],
  [(63,9),(65,9),(65,11),(64.5,11),(64.5,47.5),(65,47.5),(65,49.5),(63,49.5),(63,47.5),(63.5,47.5),(63.5,11),(63,11)],
  [(58.5,44),(60.5,44),(60.5,46),(60,46),(60,69),(60.5,69),(60.5,71),(58.5,71),(58.5,69),(59,69),(59,46),(58.5,46)],
  [(55.3,9),(57.3,9),(57.3,11),(56.8,11),(56.8,33.5),(57.3,33.5),(57.3,35.5),(55.3,35.5),(55.3,33.5),(55.8,33.5),(55.8,11),(55.3,11)],
  [(49.5,10.5),(51.5,10.5),(51.5,12.5),(51,12.5),(51,37),(51.5,37),(51.5,39),(49.5,39),(49.5,37),(50,37),(50,12.5),(49.5,12.5)],
  [(46,37),(48,37),(48,39),(47.5,39),(47.5,70.2),(48,70.2),(48,72.2),(46,72.2),(46,70.2),(46.5,70.2),(46.5,39),(46,39)],
  [(43,51),(45,51),(45,53),(44.5,53),(44.5,67.2),(45,67.2),(45,69.2),(43,69.2),(43,67.2),(43.5,67.2),(43.5,53),(43,53)],
  [(37.8,5.8),(39.8,5.8),(39.8,7.8),(39.3,7.8),(39.3,17.7),(39.8,17.7),(39.8,19.7),(37.8,19.7),(37.8,17.7),(38.3,17.7),(38.3,7.8),(37.8,7.8)],
  [(37.5,47.5),(39.5,47.5),(39.5,49.5),(39,49.5),(39,69.2),(39.5,69.2),(39.5,71.2),(37.5,71.2),(37.5,69.2),(38,69.2),(38,49.5),(37.5,49.5)],
  [(25,47.5),(27,47.5),(27,49.5),(26.5,49.5),(26.5,70.2),(27,70.2),(27,72.2),(25,72.2),(25,70.2),(25.5,70.2),(25.5,49.5),(25,49.5)],
  [(23.8,5.8),(25.8,5.8),(25.8,7.8),(25.3,7.8),(25.3,17.7),(26.3,17.7),(26.3,19.7),(24.3,19.7),(24.3,7.8),(23.8,7.8)],
  [(22,40.5),(24,40.5),(24,42.5),(23.5,42.5),(23.5,66.2),(24,66.2),(24,68.2),(22,68.2),(22,66.2),(22.5,66.2),(22.5,42.5),(22,42.5)],
  [(21.3,9),(23.3,9),(23.3,11),(22.8,11),(22.8,17.7),(23.3,17.7),(23.3,19.7),(21.3,19.7),(21.3,17.7),(21.8,17.7),(21.8,11),(21.3,11)],
  [(16.5,47.5),(18.5,47.5),(18.5,49.5),(18,49.5),(18,69),(18.5,69),(18.5,71),(16.5,71),(16.5,69),(17,69),(17,49.5),(16.5,49.5)],
  [(11,9),(13,9),(13,11),(12.5,11),(12.5,44),(13,44),(13,46),(11,46),(11,44),(11.5,44),(11.5,11),(11,11)],
  [(10.5,47.5),(12.5,47.5),(12.5,49.5),(12,49.5),(12,69),(12.5,69),(12.5,71),(10.5,71),(10.5,69),(11,69),(11,49.5),(10.5,49.5)],
  [(7.5,37),(9.5,37),(9.5,39),(9,39),(9,66.2),(9.5,66.2),(9.5,68.2),(7.5,68.2),(7.5,66.2),(8,66.2),(8,39),(7.5,39)],
  [(4,47.5),(6,47.5),(6,49.5),(5.5,49.5),(5.5,66.8),(6,66.8),(6,68.8),(4,68.8),(4,66.8),(4.5,66.8),(4.5,49.5),(4,49.5)],
  [(3.3,9),(5.3,9),(5.3,11),(4.8,11),(4.8,33.5),(5.3,33.5),(5.3,35.5),(3.3,35.5),(3.3,33.5),(3.8,33.5),(3.8,11),(3.3,11)],
  [(1,51),(3,51),(3,53),(2.5,53),(2.5,71),(3,71),(3,73),(1,73),(1,71),(1.5,71),(1.5,53),(1,53)])
A(funccounter_01, L101_0, 0.8, 2.8, 2, 2, 3, 1, 3, 0)
A(funccounter_01, L101_0, 10.3, 2.8, 2, 2, 3, 1, 5, 0)
A(funccounter_01, L101_0, 26.8, 2.8, 2, 2, 3, 1, 5, 0)
A(funccounter_01, L101_0, 43.3, 2.8, 2, 2, 3, 1, 3, 0)
A(funccounter_01, L101_0, 52.8, 2.8, 2, 2, 3, 1, 3, 0)
A(funccounter_01, L101_0, 62.3, 2.8, 2, 2, 3, 1, 5, 0)
A(funccounter_01, L101_0, 78.8, 2.8, 2, 2, 3, 1, 5, 0)
A(funccounter_01, L101_0, 95.3, 2.8, 2, 2, 3, 1, 3, 0)
A(funccounter_01, L101_0, 0.8, 20.8, 2, 6, 3, 1, 3, 0)
A(funccounter_01, L101_0, 10.3, 20.8, 2, 6, 3, 1, 5, 0)
A(funccounter_01, L101_0, 26.8, 20.8, 2, 6, 3, 1, 5, 0)
A(funccounter_01, L101_0, 43.3, 20.8, 2, 6, 3, 1, 3, 0)
A(funccounter_01, L101_0, 52.8, 20.8, 2, 6, 3, 1, 3, 0)
A(funccounter_01, L101_0, 62.3, 20.8, 2, 6, 3, 1, 5, 0)
A(funccounter_01, L101_0, 78.8, 20.8, 2, 6, 3, 1, 5, 0)
A(funccounter_01, L101_0, 95.3, 20.8, 2, 6, 3, 1, 3, 0)
A(funccounter_01, L101_0, 19.8, 59.3, 2, 2, 3, 1, 3, 0)
A(funccounter_01, L101_0, 49.3, 59.3, 2, 2, 4, 1, 3, 0)
A(funccounter_01, L101_0, 7.3, 76, 2, 6, 4, 1, 3, 0)
A(funccounter_01, L101_0, 28.3, 77.3, 2, 6, 4, 1, 3, 0)
A(funccounter_01, L101_0, 40.8, 77.3, 2, 6, 3, 1, 3, 0)
R(funccounter_01, L101_0, [(9.2,-0.5,11.2,1.5), (26.7,-0.5,28.7,1.5), (45,-0.5,47,1.5), (61.2,-0.5,63.2,1.5), (78.7,-0.5,80.7,1.5), (97,-0.5,99,1.5), (23.3,2.8,25.3,4.8), (39.8,2.8,41.8,4.8), (75.3,2.8,77.3,4.8), (91.8,2.8,93.8,4.8), (23.3,20.8,25.3,26.8), (39.8,20.8,41.8,26.8), (75.3,20.8,77.3,26.8), (91.8,20.8,93.8,26.8), (9.2,28.5,11.2,30.5), (26.7,28.5,28.7,30.5), (45,28.5,47,30.5), (61.2,28.5,63.2,30.5), (78.7,28.5,80.7,30.5), (97,28.5,99,30.5), (3,56,5,58), (10.5,56,12.5,58), (28.2,56,30.2,58), (49.2,56,51.2,58), (0.8,59.3,2.8,61.3), (3.8,59.3,5.8,61.3), (7.3,59.3,9.3,61.3), (12.3,59.3,14.3,61.3), (15.3,59.3,17.3,61.3), (28.3,59.3,30.3,61.3), (33.3,59.3,35.3,61.3), (36.3,59.3,38.3,61.3), (40.8,59.3,42.8,61.3), (45.8,59.3,47.8,61.3), (0.8,76,2.8,82), (3.8,76,5.8,82), (19.8,77.3,21.8,83.3), (24.8,77.3,26.8,83.3), (50.3,77.3,52.3,83.3), (55.3,77.3,57.3,83.3), (58.3,77.3,60.3,83.3), (2.5,85,4.5,87), (11,85,13,87), (28.2,85,30.2,87), (49.2,85,51.2,87)])
A(funccounter_01, L102_0, 37.8, 5.8, 2, 2, 3, 1, 9.5, 0)
A(funccounter_01, L102_0, 4.3, 12, 2, 2, 3, 1, 5, 0)
A(funccounter_01, L102_0, 56.3, 12, 2, 2, 3, 1, 5, 0)
R(funccounter_01, L102_0, [(4.8,5.8,6.8,7.8), (13.8,5.8,15.8,7.8), (19.3,5.8,21.3,7.8), (23.8,5.8,25.8,7.8), (65.8,5.8,67.8,7.8), (71.3,5.8,73.3,7.8), (75.8,5.8,77.8,7.8), (89.8,5.8,91.8,7.8), (99.3,5.8,101.3,7.8), (44.3,7.7,46.3,9.7), (96.3,7.7,98.3,9.7), (3.3,9,5.3,11), (11,9,13,11), (21.3,9,23.3,11), (55.3,9,57.3,11), (63,9,65,11), (73.3,9,75.3,11), (27.8,12,29.8,14), (79.8,12,81.8,14), (32.8,12.7,34.8,14.7), (84.8,12.7,86.8,14.7), (35.8,13,37.8,15), (87.8,13,89.8,15), (16.3,15,18.3,17), (68.3,15,70.3,17), (30.8,15.7,32.8,17.7), (82.8,15.7,84.8,17.7), (44.3,16.2,46.3,18.2), (96.3,16.2,98.3,18.2), (21.3,17.7,23.3,19.7), (24.3,17.7,26.3,19.7), (37.8,17.7,39.8,19.7), (73.3,17.7,75.3,19.7), (76.3,17.7,78.3,19.7), (89.8,17.7,91.8,19.7), (4.8,17.8,6.8,19.8), (56.8,17.8,58.8,19.8), (47.3,17.9,49.3,19.9), (99.3,17.9,101.3,19.9), (35,63.7,37,65.7), (56.3,64.2,58.3,66.2), (13.8,66,15.8,68), (7.5,66.2,9.5,68.2), (22,66.2,24,68.2), (29.3,66.2,31.3,68.2), (43,67.2,45,69.2), (50.3,67.2,52.3,69.2), (10.5,69,12.5,71), (25,70.2,27,72.2), (32.3,70.2,34.3,72.2), (46,70.2,48,72.2), (53.3,70.2,55.3,72.2), (1,71,3,73)])
R(funccounter_01, L103_0, [(8.2,27.5,12.2,31.5), (25.7,27.5,29.7,31.5), (44,27.5,48,31.5), (60.2,27.5,64.2,31.5), (77.7,27.5,81.7,31.5), (96,27.5,100,31.5), (1.5,84,5.5,88), (10,84,14,88), (27.2,84,31.2,88), (48.2,84,52.2,88)])
R(funccounter_01, L104_0, [(9.2,-0.5,11.2,1.5), (26.7,-0.5,28.7,1.5), (45,-0.5,47,1.5), (61.2,-0.5,63.2,1.5), (78.7,-0.5,80.7,1.5), (97,-0.5,99,1.5), (3,56,5,58), (10.5,56,12.5,58), (28.2,56,30.2,58), (49.2,56,51.2,58)])
R(funccounter_01, L105_0, [(104.5,-0.5,106.5,1.5), (23.8,5.8,25.8,7.8), (37.8,5.8,39.8,7.8), (75.8,5.8,77.8,7.8), (89.8,5.8,91.8,7.8), (3.3,9,5.3,11), (11,9,13,11), (21.3,9,23.3,11), (55.3,9,57.3,11), (63,9,65,11), (73.3,9,75.3,11), (49.5,10.5,51.5,12.5), (101.5,10.5,103.5,12.5), (21.3,17.7,23.3,19.7), (24.3,17.7,26.3,19.7), (37.8,17.7,39.8,19.7), (73.3,17.7,75.3,19.7), (76.3,17.7,78.3,19.7), (89.8,17.7,91.8,19.7), (107.5,28.5,109.5,30.5), (3.3,33.5,5.3,35.5), (55.3,33.5,57.3,35.5), (7.5,37,9.5,39), (46,37,48,39), (49.5,37,51.5,39), (22,40.5,24,42.5), (101.5,40.5,103.5,42.5), (11,44,13,46), (58.5,44,60.5,46), (4,47.5,6,49.5), (10.5,47.5,12.5,49.5), (16.5,47.5,18.5,49.5), (25,47.5,27,49.5), (37.5,47.5,39.5,49.5), (63,47.5,65,49.5), (1,51,3,53), (43,51,45,53), (104.5,56,106.5,58), (7.5,66.2,9.5,68.2), (22,66.2,24,68.2), (4,66.8,6,68.8), (43,67.2,45,69.2), (10.5,69,12.5,71), (16.5,69,18.5,71), (58.5,69,60.5,71), (37.5,69.2,39.5,71.2), (25,70.2,27,72.2), (46,70.2,48,72.2), (1,71,3,73), (107.5,85,109.5,87)])
funccounter_01.add(gdstk.Reference(pch, (100.3,20.8)))
funccounter_01.add(gdstk.Reference(pch, (97.3,20.8)))
funccounter_01.add(gdstk.Reference(pch, (90.8,20.8)))
funccounter_01.add(gdstk.Reference(pch, (87.8,20.8)))
funccounter_01.add(gdstk.Reference(pch, (85.8,20.8)))
funccounter_01.add(gdstk.Reference(pch, (82.8,20.8)))
funccounter_01.add(gdstk.Reference(pch, (80.8,20.8)))
funccounter_01.add(gdstk.Reference(pch, (74.3,20.8)))
funccounter_01.add(gdstk.Reference(pch, (71.3,20.8)))
funccounter_01.add(gdstk.Reference(pch, (69.3,20.8)))
funccounter_01.add(gdstk.Reference(pch, (66.3,20.8)))
funccounter_01.add(gdstk.Reference(pch, (64.3,20.8)))
funccounter_01.add(gdstk.Reference(pch, (57.8,20.8)))
funccounter_01.add(gdstk.Reference(pch, (57.3,77.3)))
funccounter_01.add(gdstk.Reference(pch, (54.8,20.8)))
funccounter_01.add(gdstk.Reference(pch, (54.3,77.3)))
funccounter_01.add(gdstk.Reference(pch, (52.3,77.3)))
funccounter_01.add(gdstk.Reference(pch, (48.3,20.8)))
funccounter_01.add(gdstk.Reference(pch, (45.8,77.3)))
funccounter_01.add(gdstk.Reference(pch, (45.3,20.8)))
funccounter_01.add(gdstk.Reference(pch, (42.8,77.3)))
funccounter_01.add(gdstk.Reference(pch, (38.8,20.8)))
funccounter_01.add(gdstk.Reference(pch, (36.3,77.3)))
funccounter_01.add(gdstk.Reference(pch, (35.8,20.8)))
funccounter_01.add(gdstk.Reference(pch, (33.8,20.8)))
funccounter_01.add(gdstk.Reference(pch, (33.3,77.3)))
funccounter_01.add(gdstk.Reference(pch, (30.8,20.8)))
funccounter_01.add(gdstk.Reference(pch, (30.3,77.3)))
funccounter_01.add(gdstk.Reference(pch, (28.8,20.8)))
funccounter_01.add(gdstk.Reference(pch, (23.8,77.3)))
funccounter_01.add(gdstk.Reference(pch, (22.3,20.8)))
funccounter_01.add(gdstk.Reference(pch, (21.8,77.3)))
funccounter_01.add(gdstk.Reference(pch, (19.3,20.8)))
funccounter_01.add(gdstk.Reference(pch, (17.3,20.8)))
funccounter_01.add(gdstk.Reference(pch, (15.3,76)))
funccounter_01.add(gdstk.Reference(pch, (14.3,20.8)))
funccounter_01.add(gdstk.Reference(pch, (12.3,20.8)))
funccounter_01.add(gdstk.Reference(pch, (12.3,76)))
funccounter_01.add(gdstk.Reference(pch, (9.3,76)))
funccounter_01.add(gdstk.Reference(pch, (5.8,20.8)))
funccounter_01.add(gdstk.Reference(pch, (2.8,20.8)))
funccounter_01.add(gdstk.Reference(pch, (2.8,76)))
funccounter_01.add(gdstk.Reference(nch, (2.8,59.3)))
funccounter_01.add(gdstk.Reference(nch, (2.8,2.8)))
funccounter_01.add(gdstk.Reference(nch, (5.8,2.8)))
funccounter_01.add(gdstk.Reference(nch, (9.3,59.3)))
funccounter_01.add(gdstk.Reference(nch, (11.3,59.3)))
funccounter_01.add(gdstk.Reference(nch, (12.3,2.8)))
funccounter_01.add(gdstk.Reference(nch, (14.3,59.3)))
funccounter_01.add(gdstk.Reference(nch, (14.3,2.8)))
funccounter_01.add(gdstk.Reference(nch, (17.3,2.8)))
funccounter_01.add(gdstk.Reference(nch, (19.3,2.8)))
funccounter_01.add(gdstk.Reference(nch, (21.8,59.3)))
funccounter_01.add(gdstk.Reference(nch, (22.3,2.8)))
funccounter_01.add(gdstk.Reference(nch, (24.8,59.3)))
funccounter_01.add(gdstk.Reference(nch, (28.8,2.8)))
funccounter_01.add(gdstk.Reference(nch, (30.3,59.3)))
funccounter_01.add(gdstk.Reference(nch, (30.8,2.8)))
funccounter_01.add(gdstk.Reference(nch, (32.3,59.3)))
funccounter_01.add(gdstk.Reference(nch, (33.8,2.8)))
funccounter_01.add(gdstk.Reference(nch, (35.3,59.3)))
funccounter_01.add(gdstk.Reference(nch, (35.8,2.8)))
funccounter_01.add(gdstk.Reference(nch, (38.8,2.8)))
funccounter_01.add(gdstk.Reference(nch, (42.8,59.3)))
funccounter_01.add(gdstk.Reference(nch, (44.8,59.3)))
funccounter_01.add(gdstk.Reference(nch, (45.3,2.8)))
funccounter_01.add(gdstk.Reference(nch, (48.3,2.8)))
funccounter_01.add(gdstk.Reference(nch, (51.3,59.3)))
funccounter_01.add(gdstk.Reference(nch, (54.3,59.3)))
funccounter_01.add(gdstk.Reference(nch, (54.8,2.8)))
funccounter_01.add(gdstk.Reference(nch, (57.3,59.3)))
funccounter_01.add(gdstk.Reference(nch, (57.8,2.8)))
funccounter_01.add(gdstk.Reference(nch, (64.3,2.8)))
funccounter_01.add(gdstk.Reference(nch, (66.3,2.8)))
funccounter_01.add(gdstk.Reference(nch, (69.3,2.8)))
funccounter_01.add(gdstk.Reference(nch, (71.3,2.8)))
funccounter_01.add(gdstk.Reference(nch, (74.3,2.8)))
funccounter_01.add(gdstk.Reference(nch, (80.8,2.8)))
funccounter_01.add(gdstk.Reference(nch, (82.8,2.8)))
funccounter_01.add(gdstk.Reference(nch, (85.8,2.8)))
funccounter_01.add(gdstk.Reference(nch, (87.8,2.8)))
funccounter_01.add(gdstk.Reference(nch, (90.8,2.8)))
funccounter_01.add(gdstk.Reference(nch, (97.3,2.8)))
funccounter_01.add(gdstk.Reference(nch, (100.3,2.8)))

lib.write_gds('funccounter_01.gds')
